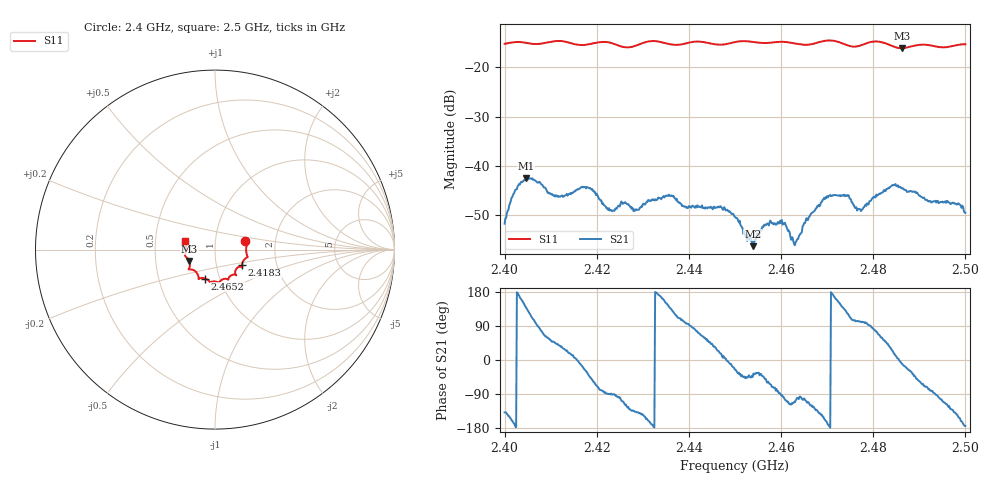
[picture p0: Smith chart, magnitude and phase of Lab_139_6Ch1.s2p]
# Hz S RI R 50
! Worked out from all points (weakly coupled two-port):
!   601 points, 2.4 GHz to 2.5 GHz, reference 50 ohm
!   highest |S21| = -42.57 dB at 2.4047 GHz (marker M1); lowest = -56.4 dB at 2.4538 GHz (marker M2)
!   lowest |S11| = -16.1 dB at 2.4862 GHz (marker M3), VSWR 1.37, Z = 37.2 - j4.89 ohm
!   |S11| at or under -10 dB: start of sweep to end of sweep
!   S12 and S22 are empty: the file has one direction only
!   S11 on the Smith chart (normalised r, x): 2.4 GHz: 1.40, +0.13; 2.4183 GHz: 1.33, -0.24; 2.4652 GHz: 0.85, -0.28; 2.5 GHz: 0.71, +0.07
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2.4e9  0.1677 0.0466  -0.00191 -0.0017  0 0  0 0
2.402e9  0.1768 0.0365  -0.00504 -0.00119  0 0  0 0
2.404667e9  0.1768 0.0219  -0.00557 0.00492  0 0  0 0
2.411333e9  0.1818 -0.0397  0.00369 0.00331  0 0  0 0
2.416667e9  0.1549 -0.068  0.00587 -0.00142  0 0  0 0
2.418333e9  0.1495 -0.0863  0.00436 -0.00395  0 0  0 0
2.423333e9  0.1478 -0.0967  -7.14e-05 -0.00342  0 0  0 0
2.433333e9  0.1172 -0.1414  -0.00469 0.000623  0 0  0 0
2.436167e9  0.0989 -0.1401  -0.00344 0.00358  0 0  0 0
2.439333e9  0.0769 -0.1579  -0.000425 0.00379  0 0  0 0
2.45e9  0.0257 -0.1796  0.00271 -0.00129  0 0  0 0
2.453833e9  0.015 -0.1816  0.00108 -0.00106  0 0  0 0
2.4565e9  -0.00452 -0.1774  0.0016 -0.00192  0 0  0 0
2.459667e9  -0.0259 -0.1804  0.000124 -0.0026  0 0  0 0
2.463167e9  -0.037 -0.171  -0.00047 -0.00159  0 0  0 0
2.465167e9  -0.0542 -0.1612  -0.00066 -0.0025  0 0  0 0
2.466667e9  -0.0707 -0.1578  -0.00164 -0.00286  0 0  0 0
2.471667e9  -0.0912 -0.1621  -0.00483 0.00128  0 0  0 0
2.4775e9  -0.1269 -0.1119  -0.00059 0.00351  0 0  0 0
2.483333e9  -0.1413 -0.0968  0.00466 0.00372  0 0  0 0
2.486167e9  -0.1433 -0.0641  0.00578 -0.000912  0 0  0 0
2.5e9  -0.1656 0.0471  -0.00328 -0.000328  0 0  0 0
